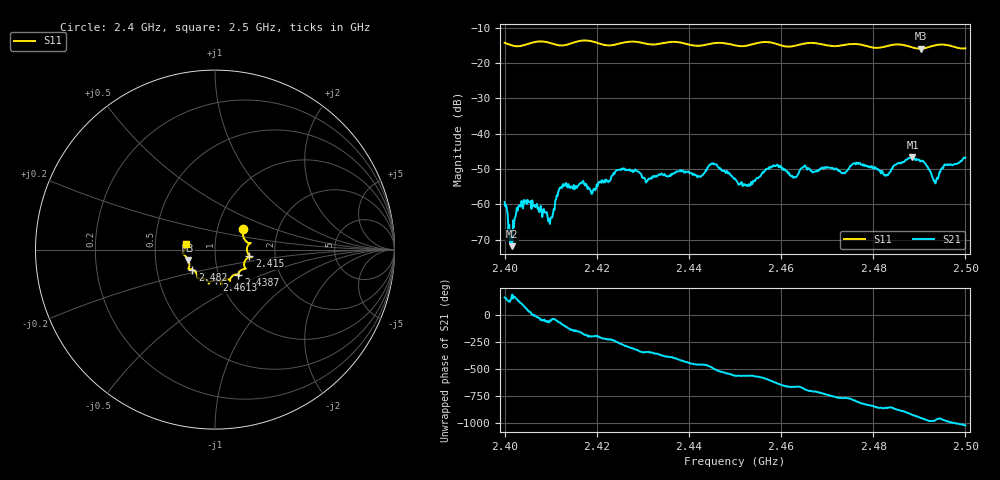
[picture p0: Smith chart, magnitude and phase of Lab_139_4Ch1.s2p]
# Hz S RI R 50
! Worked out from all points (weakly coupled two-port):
!   601 points, 2.4 GHz to 2.5 GHz, reference 50 ohm
!   highest |S21| = -46.66 dB at 2.4885 GHz (marker M1); lowest = -71.8 dB at 2.4017 GHz (marker M2)
!   lowest |S11| = -15.9 dB at 2.4903 GHz (marker M3), VSWR 1.38, Z = 36.8 - j4.46 ohm
!   |S11| at or under -10 dB: start of sweep to end of sweep
!   S12 and S22 are empty: the file has one direction only
!   S11 on the Smith chart (normalised r, x): 2.4 GHz: 1.33, +0.31; 2.415 GHz: 1.47, -0.11; 2.4387 GHz: 1.24, -0.36; 2.4613 GHz: 0.96, -0.34; 2.482 GHz: 0.76, -0.17; 2.5 GHz: 0.72, +0.05
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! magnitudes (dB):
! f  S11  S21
! 2.4 GHz  -14.3  -59.3
! 2.4017 GHz  -15.0  -71.8
! 2.4027 GHz  -15.2  -61.0
! 2.4042 GHz  -14.9  -58.7
! 2.4098 GHz  -14.3  -65.5
! 2.4122 GHz  -15.0  -55.4
! 2.415 GHz  -14.2  -54.5
! 2.4167 GHz  -13.6  -54.1
! 2.4192 GHz  -13.9  -56.1
! 2.4255 GHz  -14.3  -50.1
! 2.4333 GHz  -14.6  -51.7
! 2.4387 GHz  -14.3  -50.4
! 2.4455 GHz  -14.3  -48.6
! 2.45 GHz  -15.0  -52.7
! 2.4613 GHz  -15.3  -50.6
! 2.4667 GHz  -14.3  -50.5
! 2.482 GHz  -15.5  -50.6
! 2.4833 GHz  -15.1  -51.5
! 2.4885 GHz  -15.5  -46.7
! 2.4903 GHz  -15.9  -47.8
! 2.4935 GHz  -14.9  -54.0
! 2.5 GHz  -15.8  -46.8
